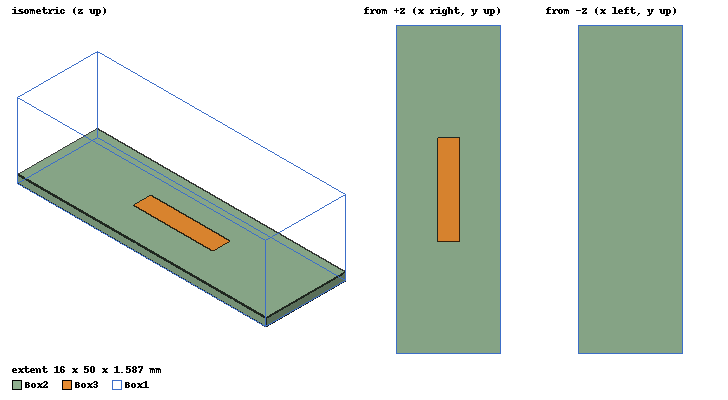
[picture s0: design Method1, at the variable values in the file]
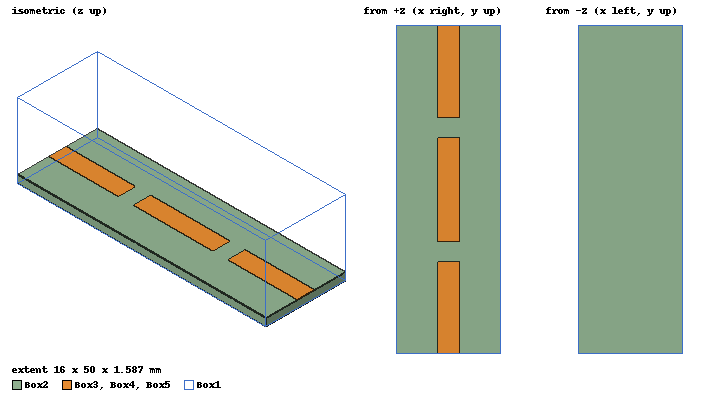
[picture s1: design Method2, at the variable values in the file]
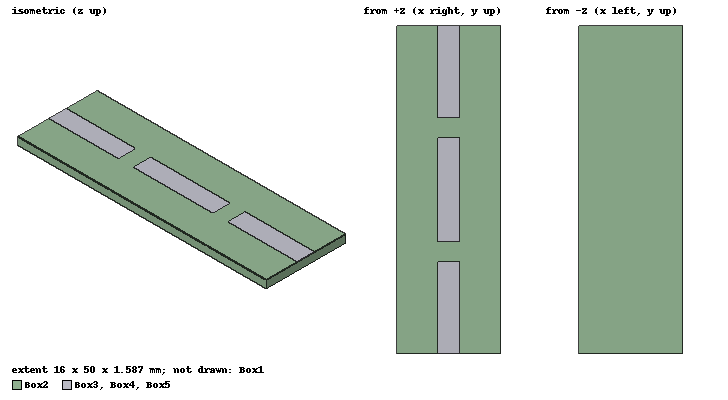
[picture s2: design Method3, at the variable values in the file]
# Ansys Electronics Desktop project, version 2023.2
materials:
  vacuum: permittivity=1
  Rogers RO4003 (tm): permittivity=3.55 dielectric_loss_tangent=0.0027
  copper: permeability=0.999991 conductivity=58000000
  Fake-Rogers RO4003 (tm): permittivity=3.55
  pec: conductivity=1e+30

design Method1 (HFSS, Eigenmode, model units mm)
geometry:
  Box1 [vacuum] = box(corner=(0mm, 0mm, 0mm), size=(16mm, 50mm, 15mm))
  Box2 [Rogers RO4003 (tm)] = box(corner=(0mm, 0mm, 0mm), size=(16mm, 50mm, 1.57mm))
  Box3 [copper] = box(corner=(6.25mm, 17mm, 1.57mm), size=(3.5mm, 16mm, 17um))
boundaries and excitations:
  PerfE1: Perfect E Objects=Box1
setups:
  Setup1: HfssEigen MinimumFrequency=1GHz NumModes=5 MaxDeltaFreq=2 ConvergeOnRealFreq=false MaximumPasses=30 MinimumPasses=30 MinimumConvergedPasses=1 PercentRefinement=30 BasisOrder=1
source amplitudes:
  #-10:1, #-10:2, #-10:3: 0V_per_meter 0deg
  #-10:4: 0 0deg
  #-10:5: 1 0deg
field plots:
  Vector_E1: E Field in Box1 on Setup1 : LastAdaptive at Phase=0deg

design Method2 (HFSS, HFSS Modal Network, model units mm)
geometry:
  Box1 [vacuum] = box(corner=(0mm, 0mm, 0mm), size=(16mm, 50mm, 15mm))
  Box2 [Rogers RO4003 (tm)] = box(corner=(0mm, 0mm, 0mm), size=(16mm, 50mm, 1.57mm))
  Box3 [copper] = box(corner=(6.25mm, 17mm, 1.57mm), size=(3.5mm, 16mm, 17um))
  Box4 [copper] = box(corner=(6.25mm, 0mm, 1.57mm), size=(3.5mm, 14mm, 17um))
  Box5 [copper] = box(corner=(6.25mm, 50mm, 1.57mm), size=(3.5mm, -14mm, 17um))
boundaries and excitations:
  PerfE1: Perfect E Objects=[Box5, Box3, Box4]
  PerfE2: Perfect E Objects=Box1
  1: Wave Port Faces=Box1.face(+y) WavePortType=Modal NumModes=1 Modes{Mode1{CharImp=Zpi}}
  2: Wave Port Faces=Box1.face(-y) WavePortType=Modal NumModes=1 Modes{Mode1{CharImp=Zpi}}
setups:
  Setup1: HfssDriven Frequency=5GHz MaxDeltaS=0.005 MaximumPasses=12 MinimumPasses=6 MinimumConvergedPasses=1 PercentRefinement=30 BasisOrder=1 PortAccuracy=2 DrivenSolverType="Direct Solver"
    sweep Sweep: 4GHz to 6GHz, 401 points; Type=Fast SaveFields
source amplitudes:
  1:1: 1W 0deg
  2:1: 0W 0deg
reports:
  S Parameter Plot 1: dB(S(2,1)) vs Freq on Setup1 : Sweep; markers MX1 at x=5.0880829e+09, MY1 at y=-26.11

design Method3 (HFSS, HFSS Modal Network, model units mm)
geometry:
  Box1 [vacuum] = box(corner=(0mm, 0mm, 0mm), size=(16mm, 50mm, 15mm))
  Box2 [Fake-Rogers RO4003 (tm)] = box(corner=(0mm, 0mm, 0mm), size=(16mm, 50mm, 1.57mm))
  Box3 [pec] = box(corner=(6.25mm, 17mm, 1.57mm), size=(3.5mm, 16mm, 17um))
  Box4 [pec] = box(corner=(6.25mm, 0mm, 1.57mm), size=(3.5mm, 14mm, 17um))
  Box5 [pec] = box(corner=(6.25mm, 50mm, 1.57mm), size=(3.5mm, -14mm, 17um))
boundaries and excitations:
  Rad1: Radiation Faces=Box1.face(+z)
  1: Wave Port Faces=Box1.face(+y) WavePortType=Modal NumModes=1 Modes{Mode1{CharImp=Zpi}}
  2: Wave Port Faces=Box1.face(-y) WavePortType=Modal NumModes=1 Modes{Mode1{CharImp=Zpi}}
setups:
  Setup1: HfssDriven Frequency=5GHz MaxDeltaS=0.005 MaximumPasses=12 MinimumPasses=6 MinimumConvergedPasses=1 PercentRefinement=30 BasisOrder=1 PortAccuracy=2 DrivenSolverType="Direct Solver"
    sweep Sweep: 4GHz to 6GHz, 401 points; Type=Fast SaveFields
  Setup2: HfssDriven Frequency=5GHz MaxDeltaS=0.02 MaximumPasses=6 MinimumPasses=1 MinimumConvergedPasses=1 PercentRefinement=30 BasisOrder=1 PortAccuracy=2 DrivenSolverType="Direct Solver"
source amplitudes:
  1:1: 1W 0deg
  2:1: 0W 0deg
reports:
  S Parameter Plot 1: dB(S(2,1)) vs Freq on Setup1 : Sweep; markers MX1 at x=5.075e+09, MY1 at y=-28.22
